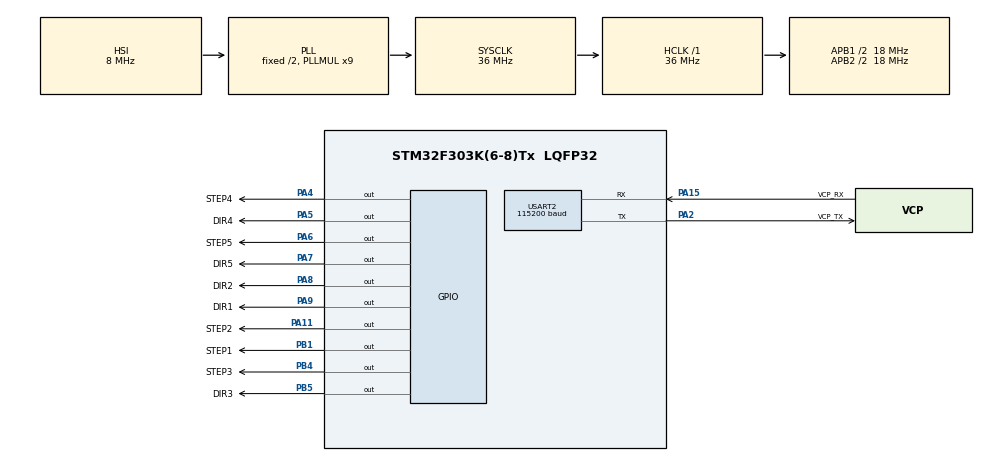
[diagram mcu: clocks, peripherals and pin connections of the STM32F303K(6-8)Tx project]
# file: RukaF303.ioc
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Mcu.Family=STM32F3
Mcu.Name=STM32F303K(6-8)Tx
Mcu.Package=LQFP32
NVIC.PriorityGroup=NVIC_PRIORITYGROUP_4
NVIC.TIM6_DAC1_IRQn=true\:0\:0\:false\:false\:true\:true\:true\:true
NVIC.USART2_IRQn=true\:0\:0\:false\:false\:true\:true\:true\:true
PA11.GPIO_Label=STEP2
PA11.GPIO_PuPd=GPIO_PULLDOWN
PA11.GPIO_Speed=GPIO_SPEED_FREQ_HIGH
PA11.Signal=GPIO_Output
PA13.GPIO_Label=SWDIO
PA13.Mode=Serial_Wire
PA13.Signal=SYS_JTMS-SWDIO
PA14.GPIO_Label=SWCLK
PA14.Mode=Serial_Wire
PA14.Signal=SYS_JTCK-SWCLK
PA15.GPIO_Label=VCP_RX
PA15.Mode=Asynchronous
PA15.Signal=USART2_RX
PA2.GPIO_Label=VCP_TX
PA2.Mode=Asynchronous
PA2.Signal=USART2_TX
PA4.GPIO_Label=STEP4
PA4.GPIO_PuPd=GPIO_PULLDOWN
PA4.GPIO_Speed=GPIO_SPEED_FREQ_HIGH
PA4.Signal=GPIO_Output
PA5.GPIO_Label=DIR4
PA5.GPIO_PuPd=GPIO_NOPULL
PA5.GPIO_Speed=GPIO_SPEED_FREQ_HIGH
PA5.Signal=GPIO_Output
PA6.GPIO_Label=STEP5
PA6.GPIO_PuPd=GPIO_PULLDOWN
PA6.GPIO_Speed=GPIO_SPEED_FREQ_HIGH
PA6.Signal=GPIO_Output
PA7.GPIO_Label=DIR5
PA7.GPIO_PuPd=GPIO_NOPULL
PA7.GPIO_Speed=GPIO_SPEED_FREQ_HIGH
PA7.Signal=GPIO_Output
PA8.GPIO_Label=DIR2
PA8.GPIO_PuPd=GPIO_NOPULL
PA8.GPIO_Speed=GPIO_SPEED_FREQ_HIGH
PA8.Signal=GPIO_Output
PA9.GPIO_Label=DIR1
PA9.GPIO_PuPd=GPIO_NOPULL
PA9.GPIO_Speed=GPIO_SPEED_FREQ_LOW
PA9.Signal=GPIO_Output
PB1.GPIO_Label=STEP1
PB1.GPIO_PuPd=GPIO_PULLDOWN
PB1.GPIO_Speed=GPIO_SPEED_FREQ_HIGH
PB1.Signal=GPIO_Output
PB4.GPIO_Label=STEP3
PB4.GPIO_PuPd=GPIO_NOPULL
PB4.GPIO_Speed=GPIO_SPEED_FREQ_HIGH
PB4.Signal=GPIO_Output
PB5.GPIO_Label=DIR3
PB5.GPIO_PuPd=GPIO_NOPULL
PB5.GPIO_Speed=GPIO_SPEED_FREQ_HIGH
PB5.Signal=GPIO_Output
PF0\ /\ OSC_IN.GPIO_Label=MCO
PF0\ /\ OSC_IN.Mode=HSE-External-Clock-Source
PF0\ /\ OSC_IN.Signal=RCC_OSC_IN
ProjectManager.HeapSize=0x200
ProjectManager.StackSize=0x400
ProjectManager.TargetToolchain=STM32CubeIDE
RCC.AHBFreq_Value=36000000
RCC.APB1CLKDivider=RCC_HCLK_DIV2
RCC.APB1Freq_Value=18000000
RCC.APB1TimFreq_Value=36000000
RCC.APB2CLKDivider=RCC_HCLK_DIV2
RCC.APB2Freq_Value=18000000
RCC.APB2TimFreq_Value=36000000
RCC.CortexFreq_Value=36000000
RCC.HCLKFreq_Value=36000000
RCC.HSE_VALUE=8000000
RCC.HSI_VALUE=8000000
RCC.PLLMUL=RCC_PLL_MUL9
RCC.SYSCLKFreq_VALUE=36000000
RCC.SYSCLKSourceVirtual=RCC_SYSCLKSOURCE_PLLCLK
TIM1.AutoReloadPreload=TIM_AUTORELOAD_PRELOAD_ENABLE
TIM1.Prescaler=36-1
TIM6.AutoReloadPreload=TIM_AUTORELOAD_PRELOAD_ENABLE
TIM6.Period=1000-1
TIM6.Prescaler=36000-1
USART2.BaudRate=115200
USART2.VirtualMode-Asynchronous=VM_ASYNC
VP_TIM1_VS_ClockSourceINT.Mode=Internal
VP_TIM6_VS_ClockSourceINT.Mode=Enable_Timer
board=NUCLEO-F303K8

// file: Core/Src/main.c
/* USER CODE BEGIN Header */
/**
 ******************************************************************************
 * @file           : main.c
 * @brief          : Main program body
 ******************************************************************************
 * @attention
 *
 * Copyright (c) 2024 STMicroelectronics.
 * All rights reserved.
 *
 * This software is licensed under terms that can be found in the LICENSE file
 * in the root directory of this software component.
 * If no LICENSE file comes with this software, it is provided AS-IS.
 *
 ******************************************************************************
 */
/* USER CODE END Header */
#include "main.h"

/* USER CODE BEGIN Includes */
#include <math.h>
#include <stdlib.h>
/* USER CODE END Includes */

/* USER CODE BEGIN PD */
#define JOINT1_REDUCTION 2.97
#define JOINT2_REDUCTION 36
#define JOINT3_REDUCTION 20.4
#define JOINT4_REDUCTION 1
#define JOINT5_REDUCTION 1.27

#define MICROSTEPS_FOR_DEG 4.44
/* USER CODE END PD */

TIM_HandleTypeDef htim1;
TIM_HandleTypeDef htim6;

UART_HandleTypeDef huart2;

/* USER CODE BEGIN PV */
typedef struct micStepTim {
	int ms1;
	int ms2;
	int ms3;
	int ms4;
	int ms5;
} sMicStepTim;

typedef struct jointAngle {
	float j1;
	float j2;
	float j3;
	float j4;
	float j5;
} sJointAngle;

typedef struct jointDir {
	int8_t d1;
	int8_t d2;
	int8_t d3;
	int8_t d4;
	int8_t d5;
} sJointDir;

typedef struct elaTim {
	int tim1;
	int tim2;
	int tim3;
	int tim4;
	int tim5;
} sElaTim;

typedef struct upDown {
	uint8_t up_dn1;
	uint8_t up_dn2;
	uint8_t up_dn3;
	uint8_t up_dn4;
	uint8_t up_dn5;
} sUpDown;

typedef struct microsteps {
	int ang1, ang2, ang3, ang4, ang5, ang_diff;
} sMicroteps;

sJointDir jointDirections;

/* USER CODE END PV */

void SystemClock_Config(void);
static void MX_GPIO_Init(void);
static void MX_USART2_UART_Init(void);
static void MX_TIM1_Init(void);
static void MX_TIM6_Init(void);
/* USER CODE BEGIN PFP */
void delay_us(uint16_t us) {
	__HAL_TIM_SET_COUNTER(&htim1, 0);  // set the counter value a 0
	while (__HAL_TIM_GET_COUNTER(&htim1) < us)
		;  // wait for the counter to reach the us input in the parameter
}

//dir = 0 -> arm rotates clockwise
//dir = 1 -> arm rotates counterclockwise
int rotate_joint_1(float ang, uint8_t dir) {
	HAL_GPIO_WritePin(DIR1_GPIO_Port, DIR1_Pin, dir);
	int microsteps = (int) ang * JOINT1_REDUCTION * MICROSTEPS_FOR_DEG;
	return microsteps;
}

//dir = 1 -> arm goes up
//dir = 0 -> arm goes down
int rotate_joint_2(float ang, uint8_t dir) {
	HAL_GPIO_WritePin(DIR2_GPIO_Port, DIR2_Pin, dir);
	int microsteps = (int) ang * JOINT2_REDUCTION * MICROSTEPS_FOR_DEG;
	return microsteps;
}

//dir = 1 -> arm goes down
//dir = 0 -> arm goes up
int rotate_joint_3(float ang, uint8_t dir) {
	HAL_GPIO_WritePin(DIR3_GPIO_Port, DIR3_Pin, dir == 1 ? 0 : 1);
	int microsteps = (int) ang * JOINT3_REDUCTION * MICROSTEPS_FOR_DEG;
	return microsteps;
}

//dir = 1 -> segment goes up
//dir = 0 -> segment goes down
int rotate_joint_4(float ang, uint8_t dir) {
	if (dir) {
		HAL_GPIO_WritePin(DIR4_GPIO_Port, DIR4_Pin, 1);
		HAL_GPIO_WritePin(DIR5_GPIO_Port, DIR5_Pin, 0);
	} else {
		HAL_GPIO_WritePin(DIR4_GPIO_Port, DIR4_Pin, 0);
		HAL_GPIO_WritePin(DIR5_GPIO_Port, DIR5_Pin, 1);
	}

	int microsteps = (int) (ang * JOINT4_REDUCTION * MICROSTEPS_FOR_DEG);
	return microsteps;
}

int rotate_joint_5(float ang, uint8_t dir) {
	HAL_GPIO_WritePin(DIR4_GPIO_Port, DIR4_Pin, dir);
	HAL_GPIO_WritePin(DIR5_GPIO_Port, DIR5_Pin, dir);

	int microsteps = (int) (ang * JOINT5_REDUCTION * MICROSTEPS_FOR_DEG);
	return microsteps;
}

//dir4 = 0 -> dize se ruka
//dir4 = 1 -> spusta se ruka
void rotate_diff_joint(float ang4, float ang5, uint8_t dir4, uint8_t dir5,
		int *nema_4, int *nema_5) {

	int microsteps4 = (int) (ang4 * JOINT4_REDUCTION * MICROSTEPS_FOR_DEG);
	int microsteps5 = (int) (ang5 * JOINT5_REDUCTION * MICROSTEPS_FOR_DEG);

	int sign4 = (dir4 == 0 ? 1 : -1);
	int sign5 = (dir5 == 0 ? 1 : -1);

	*nema_4 = microsteps4 * sign4 + microsteps5 * sign5;
	*nema_5 = -microsteps4 * sign4 + microsteps5 * sign5;

	jointDirections.d4 = *nema_4 < 0 ? -1 : 1;
	jointDirections.d5 = *nema_5 < 0 ? 1 : -1;

	HAL_GPIO_WritePin(DIR4_GPIO_Port, DIR4_Pin, *nema_4 < 0 ? 1 : 0);
	HAL_GPIO_WritePin(DIR5_GPIO_Port, DIR5_Pin, *nema_5 < 0 ? 1 : 0);

	*nema_4 = abs(*nema_4);
	*nema_5 = abs(*nema_5);
}

void calculate_times(sMicroteps *sMicrosteps, sMicStepTim *sMictoStepsTime) {
	if (sMicrosteps->ang1 != 0) {
		sMictoStepsTime->ms1 = (int)(((float)sMicrosteps->ang2 / (float)sMicrosteps->ang1)
				* (float)sMictoStepsTime->ms2);
	}
	if (sMicrosteps->ang3 != 0) {
		sMictoStepsTime->ms3 = (int)((((float)sMicrosteps->ang2) / ((float)sMicrosteps->ang3))
				* (float)sMictoStepsTime->ms2);
	}
	if (sMicrosteps->ang4 != 0) {
		sMictoStepsTime->ms4 = (int)(((float)sMicrosteps->ang2 / (float)sMicrosteps->ang4)
				* (float)sMictoStepsTime->ms2);
	}
	if (sMicrosteps->ang5 != 0) {
		sMictoStepsTime->ms5 = (int)(((float)sMicrosteps->ang2 / (float)sMicrosteps->ang5)
				* (float)sMictoStepsTime->ms2);
	}
}

/* USER CODE END PFP */

/* USER CODE BEGIN 0 */
sMicStepTim sMictoStepsTime;
sElaTim sElapsedTime;
sUpDown sUpDwn;
sMicroteps sMicrosteps;
sJointAngle jointAngles;
int cnt = 0;
uint8_t RxData[6];
uint8_t TxData[20];

float ang1, ang2, ang3, ang4, ang5;
int8_t ab_cnt = 0;

/* USER CODE END 0 */

int main(void) {

	/* MCU Configuration--------------------------------------------------------*/

	/* Reset of all peripherals, Initializes the Flash interface and the Systick. */
	HAL_Init();

	/* Configure the system clock */
	SystemClock_Config();

	/* Initialize all configured peripherals */
	MX_GPIO_Init();
	MX_USART2_UART_Init();
	MX_TIM1_Init();
	MX_TIM6_Init();
	/* USER CODE BEGIN 2 */

	sElapsedTime.tim1 = 0;
	sElapsedTime.tim2 = 0;
	sElapsedTime.tim3 = 0;
	sElapsedTime.tim4 = 0;
	sElapsedTime.tim5 = 0;

	sUpDwn.up_dn1 = 0;
	sUpDwn.up_dn2 = 0;
	sUpDwn.up_dn3 = 0;
	sUpDwn.up_dn4 = 0;
	sUpDwn.up_dn5 = 0;

	sMictoStepsTime.ms1 = 80;
	sMictoStepsTime.ms2 = 20;
	sMictoStepsTime.ms3 = 20;
	sMictoStepsTime.ms4 = 120;
	sMictoStepsTime.ms5 = 120;

	jointAngles.j1 = 0.1;
	jointAngles.j2 = 1.2;
	jointAngles.j3 = 3.4;
	jointAngles.j4 = 4.5;
	jointAngles.j5 = 6.7;

	jointDirections.d1 = 1;
	jointDirections.d2 = 1;
	jointDirections.d3 = 1;
	jointDirections.d4 = 1;
	jointDirections.d5 = 1;

	HAL_GPIO_WritePin(STEP1_GPIO_Port, STEP1_Pin, 0);
	HAL_GPIO_WritePin(STEP2_GPIO_Port, STEP2_Pin, 0);
	HAL_GPIO_WritePin(STEP3_GPIO_Port, STEP3_Pin, 0);
	HAL_GPIO_WritePin(STEP4_GPIO_Port, STEP4_Pin, 0);
	HAL_GPIO_WritePin(STEP5_GPIO_Port, STEP5_Pin, 0);

//	calculate_times(&sMicrosteps, &sMictoStepsTime);

	HAL_UART_Receive_IT(&huart2, RxData, 6);

	HAL_TIM_Base_Start(&htim1);

	/* USER CODE END 2 */

	/* Infinite loop */
	/* USER CODE BEGIN WHILE */
	while (1) {
		sElapsedTime.tim1++;
		sElapsedTime.tim2++;
		sElapsedTime.tim3++;
		sElapsedTime.tim4++;
		sElapsedTime.tim5++;

		if ((sElapsedTime.tim1 == sMictoStepsTime.ms1)
				&& sMicrosteps.ang1 > 0) {
			HAL_GPIO_TogglePin(STEP1_GPIO_Port, STEP1_Pin);
			sElapsedTime.tim1 = 0;

			if (sUpDwn.up_dn1 == 0) {
				sUpDwn.up_dn1 = 1;
			} else {
				sUpDwn.up_dn1 = 0;
			}

			if (sUpDwn.up_dn1 == 0) {
				sMicrosteps.ang1--;
				jointAngles.j1 +=
						jointDirections.d1 * 1.0
								/ ((float) JOINT1_REDUCTION
										* (float) MICROSTEPS_FOR_DEG);
			}
		}
		if ((sElapsedTime.tim2 == sMictoStepsTime.ms2)
				&& sMicrosteps.ang2 > 0) {
			HAL_GPIO_TogglePin(STEP2_GPIO_Port, STEP2_Pin);
			sElapsedTime.tim2 = 0;

			if (sUpDwn.up_dn2 == 0) {
				sUpDwn.up_dn2 = 1;
			} else {
				sUpDwn.up_dn2 = 0;
			}

			if (sUpDwn.up_dn2 == 0) {
				sMicrosteps.ang2--;
				jointAngles.j2 +=
						jointDirections.d2 * 1.0
								/ ((float) JOINT2_REDUCTION
										* (float) MICROSTEPS_FOR_DEG);
			}
		}
		if ((sElapsedTime.tim3 == sMictoStepsTime.ms3)
				&& sMicrosteps.ang3 > 0) {
			HAL_GPIO_TogglePin(STEP3_GPIO_Port, STEP3_Pin);
			sElapsedTime.tim3 = 0;

			if (sUpDwn.up_dn3 == 0) {
				sUpDwn.up_dn3 = 1;
			} else {
				sUpDwn.up_dn3 = 0;
			}

			if (sUpDwn.up_dn3 == 0) {
				sMicrosteps.ang3--;
				jointAngles.j3 +=
						jointDirections.d3 * 1.0
								/ ((float) JOINT3_REDUCTION
										* (float) MICROSTEPS_FOR_DEG);
			}
		}
		if ((sElapsedTime.tim4 == sMictoStepsTime.ms4)
				&& sMicrosteps.ang4 > 0) {
			HAL_GPIO_TogglePin(STEP4_GPIO_Port, STEP4_Pin);
			sElapsedTime.tim4 = 0;

			if (sUpDwn.up_dn4 == 0) {
				sUpDwn.up_dn4 = 1;
			} else {
				sUpDwn.up_dn4 = 0;
			}

			if (sUpDwn.up_dn4 == 0) {
				sMicrosteps.ang4--;

				jointAngles.j4 +=
						jointDirections.d4 * 0.5
								/ ((float) JOINT4_REDUCTION
										* (float) MICROSTEPS_FOR_DEG);
				jointAngles.j5 +=
						-jointDirections.d4 * 0.5
								/ ((float) JOINT5_REDUCTION
										* (float) MICROSTEPS_FOR_DEG);
			}
		}
		if ((sElapsedTime.tim5 == sMictoStepsTime.ms5)
				&& sMicrosteps.ang5 > 0) {
			HAL_GPIO_TogglePin(STEP5_GPIO_Port, STEP5_Pin);
			sElapsedTime.tim5 = 0;

			if (sUpDwn.up_dn5 == 0) {
				sUpDwn.up_dn5 = 1;
			} else {
				sUpDwn.up_dn5 = 0;
			}

			if (sUpDwn.up_dn5 == 0) {
				sMicrosteps.ang5--;
				jointAngles.j4 +=
						jointDirections.d5 * 0.5
								/ ((float) JOINT4_REDUCTION
										* (float) MICROSTEPS_FOR_DEG);
				jointAngles.j5 +=
						jointDirections.d5 * 0.5
								/ ((float) JOINT5_REDUCTION
										* (float) MICROSTEPS_FOR_DEG);
			}
		}

		delay_us(10);
		/* USER CODE END WHILE */

	}
}

void SystemClock_Config(void) {
	RCC_OscInitTypeDef RCC_OscInitStruct = { 0 };
	RCC_ClkInitTypeDef RCC_ClkInitStruct = { 0 };
	RCC_PeriphCLKInitTypeDef PeriphClkInit = { 0 };

	/** Initializes the RCC Oscillators according to the specified parameters
	 * in the RCC_OscInitTypeDef structure.
	 */
	RCC_OscInitStruct.OscillatorType = RCC_OSCILLATORTYPE_HSI;
	RCC_OscInitStruct.HSIState = RCC_HSI_ON;
	RCC_OscInitStruct.HSICalibrationValue = RCC_HSICALIBRATION_DEFAULT;
	RCC_OscInitStruct.PLL.PLLState = RCC_PLL_ON;
	RCC_OscInitStruct.PLL.PLLSource = RCC_PLLSOURCE_HSI;
	RCC_OscInitStruct.PLL.PLLMUL = RCC_PLL_MUL9;
	if (HAL_RCC_OscConfig(&RCC_OscInitStruct) != HAL_OK) {
		Error_Handler();
	}

	/** Initializes the CPU, AHB and APB buses clocks
	 */
	RCC_ClkInitStruct.ClockType = RCC_CLOCKTYPE_HCLK | RCC_CLOCKTYPE_SYSCLK
			| RCC_CLOCKTYPE_PCLK1 | RCC_CLOCKTYPE_PCLK2;
	RCC_ClkInitStruct.SYSCLKSource = RCC_SYSCLKSOURCE_PLLCLK;
	RCC_ClkInitStruct.AHBCLKDivider = RCC_SYSCLK_DIV1;
	RCC_ClkInitStruct.APB1CLKDivider = RCC_HCLK_DIV2;
	RCC_ClkInitStruct.APB2CLKDivider = RCC_HCLK_DIV2;

	if (HAL_RCC_ClockConfig(&RCC_ClkInitStruct, FLASH_LATENCY_1) != HAL_OK) {
		Error_Handler();
	}
	PeriphClkInit.PeriphClockSelection = RCC_PERIPHCLK_TIM1;
	PeriphClkInit.Tim1ClockSelection = RCC_TIM1CLK_HCLK;
	if (HAL_RCCEx_PeriphCLKConfig(&PeriphClkInit) != HAL_OK) {
		Error_Handler();
	}
}

static void MX_TIM1_Init(void) {

	TIM_ClockConfigTypeDef sClockSourceConfig = { 0 };
	TIM_MasterConfigTypeDef sMasterConfig = { 0 };

	htim1.Instance = TIM1;
	htim1.Init.Prescaler = 36 - 1;
	htim1.Init.CounterMode = TIM_COUNTERMODE_UP;
	htim1.Init.Period = 65535;
	htim1.Init.ClockDivision = TIM_CLOCKDIVISION_DIV1;
	htim1.Init.RepetitionCounter = 0;
	htim1.Init.AutoReloadPreload = TIM_AUTORELOAD_PRELOAD_ENABLE;
	if (HAL_TIM_Base_Init(&htim1) != HAL_OK) {
		Error_Handler();
	}
	sClockSourceConfig.ClockSource = TIM_CLOCKSOURCE_INTERNAL;
	if (HAL_TIM_ConfigClockSource(&htim1, &sClockSourceConfig) != HAL_OK) {
		Error_Handler();
	}
	sMasterConfig.MasterOutputTrigger = TIM_TRGO_RESET;
	sMasterConfig.MasterOutputTrigger2 = TIM_TRGO2_RESET;
	sMasterConfig.MasterSlaveMode = TIM_MASTERSLAVEMODE_DISABLE;
	if (HAL_TIMEx_MasterConfigSynchronization(&htim1, &sMasterConfig)
			!= HAL_OK) {
		Error_Handler();
	}

}

static void MX_TIM6_Init(void) {

	TIM_MasterConfigTypeDef sMasterConfig = { 0 };

	htim6.Instance = TIM6;
	htim6.Init.Prescaler = 36 - 1;
	htim6.Init.CounterMode = TIM_COUNTERMODE_UP;
	htim6.Init.Period = 1000 - 1;
	htim6.Init.AutoReloadPreload = TIM_AUTORELOAD_PRELOAD_ENABLE;
	if (HAL_TIM_Base_Init(&htim6) != HAL_OK) {
		Error_Handler();
	}
	sMasterConfig.MasterOutputTrigger = TIM_TRGO_RESET;
	sMasterConfig.MasterSlaveMode = TIM_MASTERSLAVEMODE_DISABLE;
	if (HAL_TIMEx_MasterConfigSynchronization(&htim6, &sMasterConfig)
			!= HAL_OK) {
		Error_Handler();
	}

}

static void MX_USART2_UART_Init(void) {

	huart2.Instance = USART2;
	huart2.Init.BaudRate = 115200;
	huart2.Init.WordLength = UART_WORDLENGTH_8B;
	huart2.Init.StopBits = UART_STOPBITS_1;
	huart2.Init.Parity = UART_PARITY_NONE;
	huart2.Init.Mode = UART_MODE_TX_RX;
	huart2.Init.HwFlowCtl = UART_HWCONTROL_NONE;
	huart2.Init.OverSampling = UART_OVERSAMPLING_16;
	huart2.Init.OneBitSampling = UART_ONE_BIT_SAMPLE_DISABLE;
	huart2.AdvancedInit.AdvFeatureInit = UART_ADVFEATURE_NO_INIT;
	if (HAL_UART_Init(&huart2) != HAL_OK) {
		Error_Handler();
	}

}

static void MX_GPIO_Init(void) {
	GPIO_InitTypeDef GPIO_InitStruct = { 0 };

	/* GPIO Ports Clock Enable */
	__HAL_RCC_GPIOF_CLK_ENABLE();
	__HAL_RCC_GPIOA_CLK_ENABLE();
	__HAL_RCC_GPIOB_CLK_ENABLE();

	/*Configure GPIO pin Output Level */
	HAL_GPIO_WritePin(GPIOA,
			STEP4_Pin | DIR4_Pin | STEP5_Pin | DIR5_Pin | DIR2_Pin | DIR1_Pin
					| STEP2_Pin, GPIO_PIN_RESET);

	/*Configure GPIO pin Output Level */
	HAL_GPIO_WritePin(GPIOB, STEP1_Pin | STEP3_Pin | DIR3_Pin, GPIO_PIN_RESET);

	/*Configure GPIO pins : STEP4_Pin STEP5_Pin STEP2_Pin */
	GPIO_InitStruct.Pin = STEP4_Pin | STEP5_Pin | STEP2_Pin;
	GPIO_InitStruct.Mode = GPIO_MODE_OUTPUT_PP;
	GPIO_InitStruct.Pull = GPIO_PULLDOWN;
	GPIO_InitStruct.Speed = GPIO_SPEED_FREQ_HIGH;
	HAL_GPIO_Init(GPIOA, &GPIO_InitStruct);

	/*Configure GPIO pins : DIR4_Pin DIR5_Pin DIR2_Pin */
	GPIO_InitStruct.Pin = DIR4_Pin | DIR5_Pin | DIR2_Pin;
	GPIO_InitStruct.Mode = GPIO_MODE_OUTPUT_PP;
	GPIO_InitStruct.Pull = GPIO_NOPULL;
	GPIO_InitStruct.Speed = GPIO_SPEED_FREQ_HIGH;
	HAL_GPIO_Init(GPIOA, &GPIO_InitStruct);

	/*Configure GPIO pin : STEP1_Pin */
	GPIO_InitStruct.Pin = STEP1_Pin;
	GPIO_InitStruct.Mode = GPIO_MODE_OUTPUT_PP;
	GPIO_InitStruct.Pull = GPIO_PULLDOWN;
	GPIO_InitStruct.Speed = GPIO_SPEED_FREQ_HIGH;
	HAL_GPIO_Init(STEP1_GPIO_Port, &GPIO_InitStruct);

	/*Configure GPIO pin : DIR1_Pin */
	GPIO_InitStruct.Pin = DIR1_Pin;
	GPIO_InitStruct.Mode = GPIO_MODE_OUTPUT_PP;
	GPIO_InitStruct.Pull = GPIO_NOPULL;
	GPIO_InitStruct.Speed = GPIO_SPEED_FREQ_LOW;
	HAL_GPIO_Init(DIR1_GPIO_Port, &GPIO_InitStruct);

	/*Configure GPIO pins : STEP3_Pin DIR3_Pin */
	GPIO_InitStruct.Pin = STEP3_Pin | DIR3_Pin;
	GPIO_InitStruct.Mode = GPIO_MODE_OUTPUT_PP;
	GPIO_InitStruct.Pull = GPIO_NOPULL;
	GPIO_InitStruct.Speed = GPIO_SPEED_FREQ_HIGH;
	HAL_GPIO_Init(GPIOB, &GPIO_InitStruct);

}

/* USER CODE BEGIN 4 */
void HAL_UART_RxCpltCallback(UART_HandleTypeDef *huart) {
	HAL_UART_Receive_IT(&huart2, RxData, 6);
	if (RxData[0] == 0xAA) {
		switch (RxData[1]) {
		float ang;
	case 0xA1:
		ang = *(float*) (&RxData[2]);
		jointDirections.d1 = ang < 0 ? -1 : 1;
		sMicrosteps.ang1 = rotate_joint_1(abs(ang), ang < 0 ? 0 : 1);
		sElapsedTime.tim1 = 0;
		break;
	case 0xA2:
		ang = *(float*) (&RxData[2]);
		jointDirections.d2 = ang < 0 ? -1 : 1;
		sMicrosteps.ang2 = rotate_joint_2(abs(ang), ang < 0 ? 0 : 1);
		sElapsedTime.tim2 = 0;
		break;
	case 0xA3:
		ang = *(float*) (&RxData[2]);
		jointDirections.d3 = ang < 0 ? -1 : 1;
		sMicrosteps.ang3 = rotate_joint_3(abs(ang), ang < 0 ? 0 : 1);
		sElapsedTime.tim3 = 0;
		break;
	case 0xA4:
		ang = *(float*) (&RxData[2]);
		rotate_diff_joint(abs(ang), 0, ang < 0 ? 0 : 1, 0, &sMicrosteps.ang4,
				&sMicrosteps.ang5);
		sElapsedTime.tim4 = 0;
		sElapsedTime.tim5 = 0;
		break;
	case 0xA5:
		ang = *(float*) (&RxData[2]);
		rotate_diff_joint(0, abs(ang), 0, ang < 0 ? 0 : 1, &sMicrosteps.ang4,
				&sMicrosteps.ang5);
		sElapsedTime.tim4 = 0;
		sElapsedTime.tim5 = 0;
		break;
		}
	} else if (RxData[0] == 0xAB) {
		switch (RxData[1]) {
		case 0xA1:
			ang1 = *(float*) (&RxData[2]);
			jointDirections.d1 = ang1 < 0 ? -1 : 1;
			break;
		case 0xA2:
			ang2 = *(float*) (&RxData[2]);
			jointDirections.d2 = ang2 < 0 ? -1 : 1;
			break;
		case 0xA3:
			ang3 = *(float*) (&RxData[2]);
			jointDirections.d3 = ang3 < 0 ? -1 : 1;
			break;
		case 0xA4:
			ang4 = *(float*) (&RxData[2]);
			break;
		case 0xA5:
			ang5 = *(float*) (&RxData[2]);
			sMicrosteps.ang1 = rotate_joint_1(abs(ang1), ang1 < 0 ? 0 : 1);
			sMicrosteps.ang2 = rotate_joint_2(abs(ang2), ang2 < 0 ? 0 : 1);
			sMicrosteps.ang3 = rotate_joint_3(abs(ang3), ang3 < 0 ? 0 : 1);
			rotate_diff_joint(abs(ang4), abs(ang5), ang4 < 0 ? 0 : 1,
					ang5 < 0 ? 0 : 1, &sMicrosteps.ang4, &sMicrosteps.ang5);
			if (sMicrosteps.ang2 != 0) {
				calculate_times(&sMicrosteps, &sMictoStepsTime);
			}
			sElapsedTime.tim1 = 0;
			sElapsedTime.tim2 = 0;
			sElapsedTime.tim3 = 0;
			sElapsedTime.tim4 = 0;
			sElapsedTime.tim5 = 0;
			break;
		}

	} else if (RxData[0] == 0xAC) {
		jointAngles.j1 = 0;
		jointAngles.j2 = 0;
		jointAngles.j3 = 0;
		jointAngles.j4 = 0;
		jointAngles.j5 = 0;
		sMictoStepsTime.ms1 = 80;
		sMictoStepsTime.ms2 = 20;
		sMictoStepsTime.ms3 = 20;
		sMictoStepsTime.ms4 = 120;
		sMictoStepsTime.ms5 = 120;
	} else if (RxData[0] == 0xAD) {
		HAL_UART_Transmit(&huart2, (uint8_t*) &jointAngles, 20, 100);
	}
	return;
}

/* USER CODE END 4 */

void Error_Handler(void) {
	__disable_irq();
	while (1) {
	}
}
